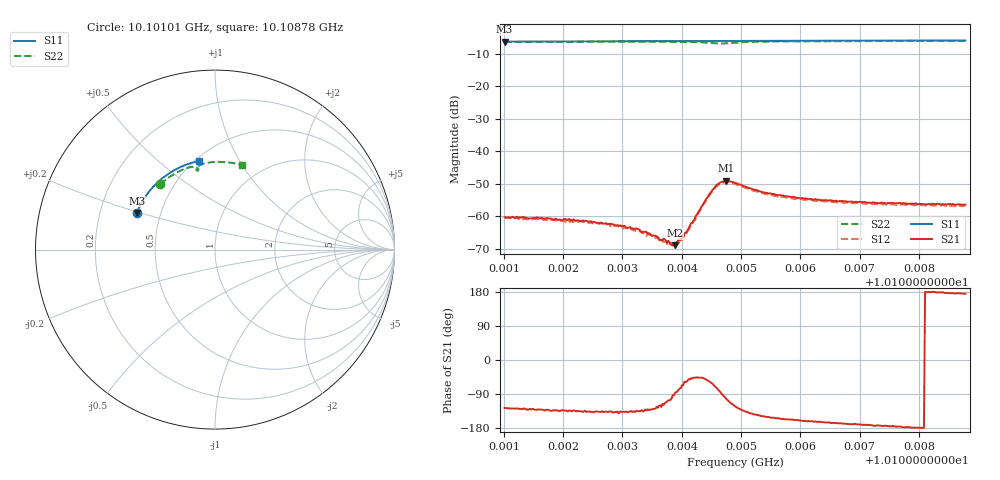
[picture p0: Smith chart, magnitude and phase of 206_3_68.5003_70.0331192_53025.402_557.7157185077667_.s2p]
#  HZ  S  RI  R  50.00
! Rohde & Schwarz Vector Network Analyzer
! Rohde-Schwarz,ZNB20-2Port,1311601062101988,3.16
! Created: UTC 3/20/2024, 4:57:50 PM
! freq[Hz]  re:S11  im:S11  re:S21  im:S21  re:S12  im:S12  re:S22  im:S22
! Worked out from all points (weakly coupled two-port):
!   401 points, 10.10101 GHz to 10.10878 GHz, reference 50 ohm
!   highest |S21| = -49.11 dB at 10.10474 GHz (marker M1); lowest = -68.9 dB at 10.10389 GHz (marker M2)
!   lowest |S11| = -6.3 dB at 10.10101 GHz (marker M3), VSWR 2.86, Z = 18.2 + j9.7 ohm
!   |S11| at or under -10 dB: nowhere
!   |S22| runs from -6.9 to -6.1 dB; largest |S21 - S12| = 0.00036
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1.0101014e10  -0.4365 0.2042  -0.000575 -0.000772  -0.000513 -0.000824  -0.3049 0.3636
1.0101596e10  -0.422 0.2367  -0.000609 -0.000702  -0.000502 -0.000707  -0.2761 0.3882
1.0102315e10  -0.4008 0.2749  -0.000604 -0.000596  -0.000552 -0.000619  -0.2378 0.415
1.0102878e10  -0.3818 0.3035  -0.000522 -0.000497  -0.000474 -0.000539  -0.2055 0.4336
1.0103247e10  -0.3684 0.3215  -0.000441 -0.00046  -0.000406 -0.000445  -0.183 0.4442
1.0103616e10  -0.3541 0.3387  -0.000228 -0.000385  -0.000188 -0.000388  -0.159 0.4535
1.0103732e10  -0.3494 0.3439  -0.000158 -0.000397  -0.000134 -0.000385  -0.151 0.456
1.0103849e10  -0.3447 0.3493  -1.92e-05 -0.00036  7.31e-06 -0.000354  -0.1427 0.4583
1.0103888e10  -0.343 0.3509  2.06e-05 -0.000357  7.29e-05 -0.000384  -0.1398 0.4589
1.0103965e10  -0.3398 0.3544  0.000105 -0.000406  0.000123 -0.000366  -0.1338 0.46
1.0104004e10  -0.3383 0.3561  0.000195 -0.000441  0.000202 -0.000379  -0.131 0.4605
1.0104062e10  -0.3358 0.3585  0.000297 -0.000475  0.000326 -0.00044  -0.1263 0.461
1.0104179e10  -0.3308 0.3636  0.000525 -0.000598  0.000562 -0.000533  -0.1166 0.4611
1.0104373e10  -0.3223 0.3717  0.00106 -0.0012  0.00112 -0.00108  -0.1004 0.4565
1.0104528e10  -0.3154 0.3779  0.00111 -0.00235  0.00124 -0.00215  -0.0925 0.4461
1.0104625e10  -0.3109 0.382  0.000506 -0.0031  0.000779 -0.00295  -0.0948 0.4401
1.0104742e10  -0.3057 0.3866  -0.000654 -0.00344  -0.000347 -0.00331  -0.1018 0.4411
1.0104897e10  -0.2987 0.3927  -0.00172 -0.00275  -0.00145 -0.00279  -0.1025 0.4528
1.010546e10  -0.2718 0.4136  -0.00195 -0.0011  -0.00178 -0.00121  -0.0663 0.4778
1.0106198e10  -0.2342 0.4379  -0.00173 -0.000581  -0.00162 -0.000672  -0.0158 0.4871
1.0107499e10  -0.1633 0.472  -0.00157 -0.000143  -0.00148 -0.000298  0.0693 0.4864
1.0108781e10  -0.089 0.4939  -0.0015 0.000129  -0.00144 -2.11e-05  0.1498 0.4706
